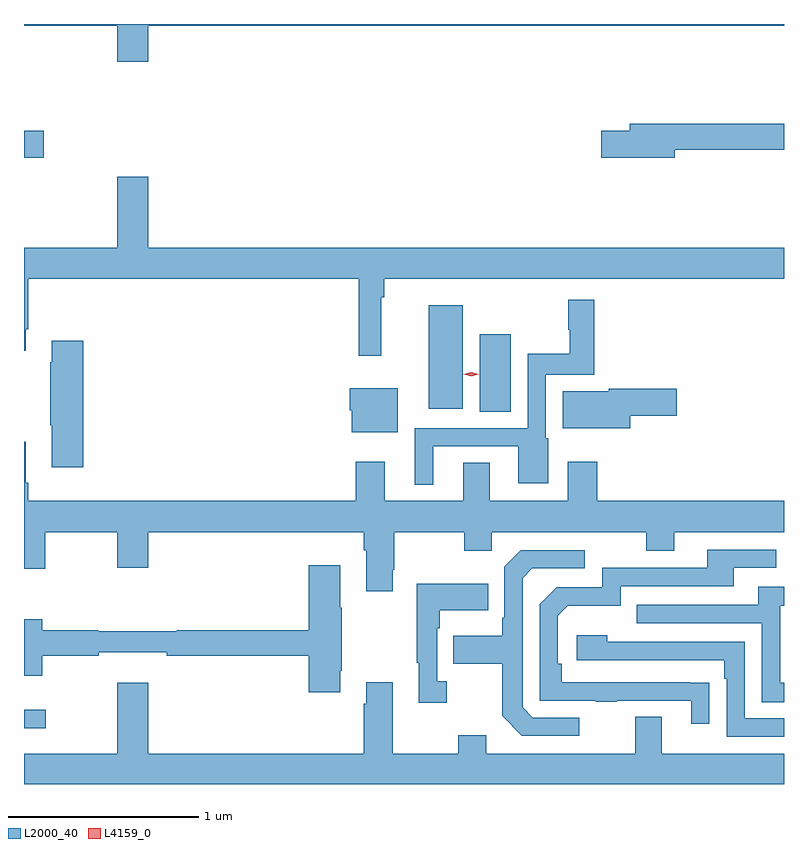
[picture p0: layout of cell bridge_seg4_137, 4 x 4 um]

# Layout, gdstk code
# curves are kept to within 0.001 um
import gdstk
lib = gdstk.Library(unit=1e-6, precision=1e-09)
def R(c, l, rs):  # rectangles x0, y0, x1, y1
    for r in rs: c.add(gdstk.rectangle(r[:2], r[2:], *l))
def P(c, l, *ps):  # polygons
    for p in ps: c.add(gdstk.Polygon(p, *l))
L2000_40 = (2000, 40)
L4159_0 = (4159, 0)

bridge_seg4_137 = lib.new_cell('bridge_seg4_137')
R(bridge_seg4_137, L2000_40, [(260.422,781.136,260.536,781.233), (262.82,782.8,262.984,783.208), (262.553,782.816,262.732,783.361), (260.422,784.138,260.527,784.28)])
P(bridge_seg4_137, L2000_40, [(261.076,784.832),(264.422,784.832),(264.422,784.842),(260.422,784.842),(260.422,784.832),(260.912,784.832),(260.912,784.644),(261.076,784.644)],
  [(263.848,784.18),(264.422,784.18),(264.422,784.316),(263.609,784.316),(263.609,784.28),(263.46,784.28),(263.46,784.138),(263.848,784.138)],
  [(262.302,783.404),(262.319,783.404),(262.319,783.5),(264.422,783.5),(264.422,783.664),(261.076,783.664),(261.076,784.039),(260.912,784.039),(260.912,783.664),(260.422,783.664),(260.422,783.123),(260.431,783.123),(260.431,783.235),(260.444,783.235),(260.444,783.5),(262.183,783.5),(262.183,783.096),(262.302,783.096)],
  [(262.576,782.619),(263.024,782.619),(263.024,782.426),(263.182,782.426),(263.182,782.662),(263.169,782.662),(263.169,782.997),(263.423,782.997),(263.423,783.391),(263.287,783.391),(263.287,783.234),(263.295,783.234),(263.295,783.106),(263.073,783.106),(263.073,782.715),(262.478,782.715),(262.478,782.418),(262.576,782.418)],
  [(260.735,783.175),(260.567,783.175),(260.567,783.062),(260.56,783.062),(260.56,782.731),(260.567,782.731),(260.567,782.508),(260.735,782.508)],
  [(262.39,782.926),(262.136,782.926),(262.136,782.808),(262.148,782.808),(262.148,782.693),(262.39,782.693)],
  [(263.614,782.779),(263.857,782.779),(263.857,782.921),(263.5,782.921),(263.5,782.908),(263.258,782.908),(263.258,782.714),(263.614,782.714)],
  [(262.363,781.969),(262.371,781.969),(262.371,782.168),(262.738,782.168),(262.738,782.069),(262.884,782.069),(262.884,782.168),(263.698,782.168),(263.698,782.069),(263.845,782.069),(263.845,782.168),(264.422,782.168),(264.422,782.332),(263.438,782.332),(263.438,782.539),(263.285,782.539),(263.285,782.332),(262.873,782.332),(262.873,782.534),(262.733,782.534),(262.733,782.332),(262.321,782.332),(262.321,782.539),(262.169,782.539),(262.169,782.332),(260.444,782.332),(260.444,782.428),(260.431,782.428),(260.431,782.644),(260.422,782.644),(260.422,781.974),(260.535,781.974),(260.535,782.168),(260.912,782.168),(260.912,781.98),(261.076,781.98),(261.076,782.168),(262.211,782.168),(262.211,782.072),(262.223,782.072),(262.223,781.857),(262.363,781.857)],
  [(264.029,781.376),(263.252,781.377),(263.252,781.474),(263.232,781.474),(263.232,781.728),(263.285,781.781),(263.562,781.781),(263.562,781.884),(264.157,781.884),(264.157,781.98),(264.382,781.98),(264.382,782.076),(264.017,782.076),(264.017,781.98),(263.466,781.98),(263.466,781.878),(263.226,781.878),(263.136,781.788),(263.136,781.281),(263.431,781.281),(263.431,781.276),(263.543,781.276),(263.543,781.281),(263.933,781.281),(263.933,781.158),(264.029,781.158)],
  [(263.344,781.191),(263.1,781.191),(263.046,781.245),(263.046,781.926),(263.097,781.977),(263.374,781.977),(263.374,782.073),(263.037,782.073),(262.95,781.986),(262.95,781.717),(262.938,781.717),(262.938,781.621),(262.681,781.621),(262.681,781.474),(262.938,781.474),(262.938,781.201),(263.043,781.095),(263.344,781.095)],
  [(262.087,781.438),(262.095,781.438),(262.095,781.769),(262.087,781.769),(262.087,781.993),(261.92,781.993),(261.92,781.652),(261.225,781.652),(261.225,781.645),(260.814,781.645),(260.814,781.652),(260.518,781.652),(260.518,781.708),(260.422,781.708),(260.422,781.412),(260.518,781.412),(260.518,781.516),(260.816,781.516),(260.816,781.535),(261.172,781.535),(261.172,781.516),(261.92,781.516),(261.92,781.326),(262.087,781.326)],
  [(262.648,781.382),(262.596,781.382),(262.596,781.661),(262.609,781.661),(262.609,781.757),(262.865,781.757),(262.865,781.897),(262.488,781.897),(262.488,781.481),(262.499,781.481),(262.499,781.269),(262.648,781.269)],
  [(264.422,781.374),(264.402,781.374),(264.402,781.779),(264.422,781.779),(264.422,781.879),(264.287,781.879),(264.287,781.785),(263.647,781.785),(263.647,781.689),(264.306,781.689),(264.306,781.273),(264.422,781.273)],
  [(264.422,781.188),(264.216,781.188),(264.216,781.59),(263.492,781.59),(263.492,781.624),(263.331,781.624),(263.331,781.494),(264.107,781.494),(264.107,781.397),(264.12,781.397),(264.12,781.092),(264.422,781.092)],
  [(262.855,781.099),(262.708,781.099),(262.708,781),(262.363,781),(262.363,781.378),(262.223,781.378),(262.223,781.265),(262.211,781.265),(262.211,781),(261.076,781),(261.076,781.375),(260.912,781.375),(260.912,781),(260.422,781),(260.422,780.842),(264.422,780.842),(264.422,781),(263.779,781),(263.779,781.195),(263.639,781.195),(263.639,781),(262.855,781)])
P(bridge_seg4_137, L4159_0, [(262.776,782.989),(262.737,782.999),(262.736,782.999),(262.737,782.999),(262.776,783.009),(262.815,782.999),(262.815,782.998),(262.815,782.998)])

lib.write_gds('bridge_seg4_137.gds')
